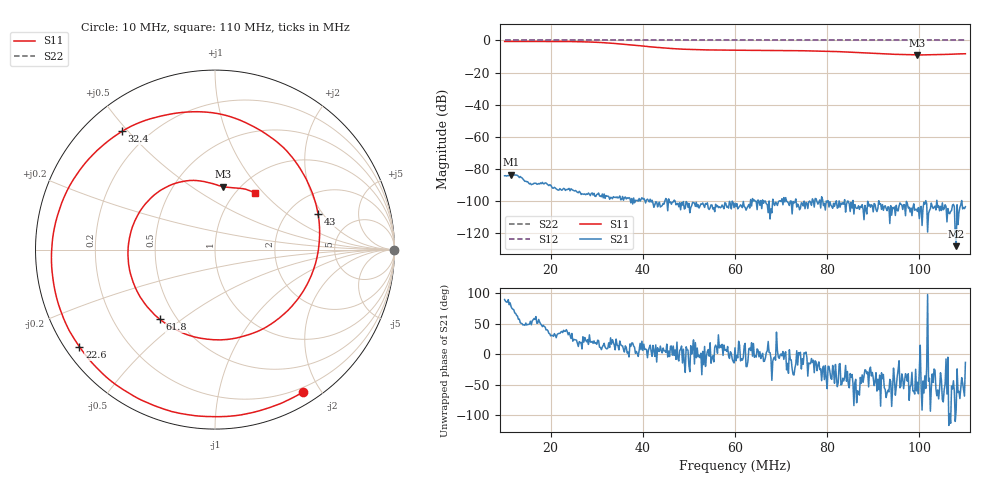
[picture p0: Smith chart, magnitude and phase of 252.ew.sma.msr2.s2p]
! Anritsu VNA Master:  Model: MS2036C/10/77
! SN:  1601066
! /card0/usr/msr2.s2p
! Existing Calibration Information:
! TYPE:  Current Settings,  Active Cal Settings
! TIME:  12/20/2017 04:10:03 PM,  12/20/2017 04:05:21 PM
! INTERNAL TEMP:  42.5 C,  43.3 C
! # POINTS:  501,  501
! START FREQ:  10.000 MHz,  10.000 MHz
! STOP FREQ:  110.000 MHz,  110.000 MHz
! SOURCE POWER:  High,  High
! IFBW:  100 Hz,  100 Hz
! AVG FACTOR:  1 ,  1
! REF PLANE 1:  0 mm,  0 mm
! REF PLANE 2:  0 mm,  0 mm
! CAL TYPE:  Full S11,  Full S11
! CAL METHOD:  SOLT,  SOLT
! CAL LINE TYPE:  Coax,  Coax
! DUT PORT 1:  K-Conn(F),  K-Conn(F)
! DUT PORT 2:  K-Conn(F),  K-Conn(F)
! CAL STATUS:  OK: Accuracy High,  --
# GHZ S DB R 50.0
! FREQ.GHZ  S11DB  S11A  S21DB  S21A  S12DB  S12A  S22DB  S22A
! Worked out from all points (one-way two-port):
!   501 points, 10 MHz to 110 MHz, reference 50 ohm
!   highest |S21| = -83.77 dB at 11.4 MHz (marker M1); lowest = -128.4 dB at 108 MHz (marker M2)
!   lowest |S11| = -9.0 dB at 99.6 MHz (marker M3), VSWR 2.09, Z = 42.4 + j33.9 ohm
!   |S11| at or under -10 dB: nowhere
!   |S22| runs from 0.0 to 0.0 dB; largest |S21 - S12| = 1
!   S11 on the Smith chart (normalised r, x): 10 MHz: 0.15, -1.78; 22.6 MHz: 0.04, -0.32; 32.4 MHz: 0.11, +0.48; 43 MHz: 2.84, +1.81; 61.8 MHz: 0.41, -0.42; 110 MHz: 1.20, +0.89
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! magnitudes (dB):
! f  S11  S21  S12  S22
! 10 MHz  -0.6  -84.5  0.0  0.0
! 11.4 MHz  -0.6  -83.8  0.0  0.0
! 22.6 MHz  -0.6  -93.0  0.0  0.0
! 26.8 MHz  -0.8  -95.8  0.0  0.0
! 29.4 MHz  -1.1  -95.4  0.0  0.0
! 32.4 MHz  -1.5  -97.1  0.0  0.0
! 36.4 MHz  -2.4  -98.9  0.0  0.0
! 43 MHz  -4.3  -100.9  0.0  0.0
! 43.4 MHz  -4.4  -102.0  0.0  0.0
! 47 MHz  -5.2  -100.2  0.0  0.0
! 50.2 MHz  -5.6  -107.5  0.0  0.0
! 53.4 MHz  -5.9  -104.2  0.0  0.0
! 60 MHz  -6.1  -101.6  0.0  0.0
! 61.8 MHz  -6.1  -100.5  0.0  0.0
! 69.2 MHz  -6.2  -103.0  0.0  0.0
! 76.8 MHz  -6.5  -98.8  0.0  0.0
! 84.2 MHz  -7.2  -102.3  0.0  0.0
! 93.4 MHz  -8.5  -104.0  0.0  0.0
! 99.6 MHz  -9.0  -106.7  0.0  0.0
! 103.2 MHz  -8.9  -104.1  0.0  0.0
! 108 MHz  -8.4  -128.4  0.0  0.0
! 110 MHz  -8.3  -103.8  0.0  0.0
